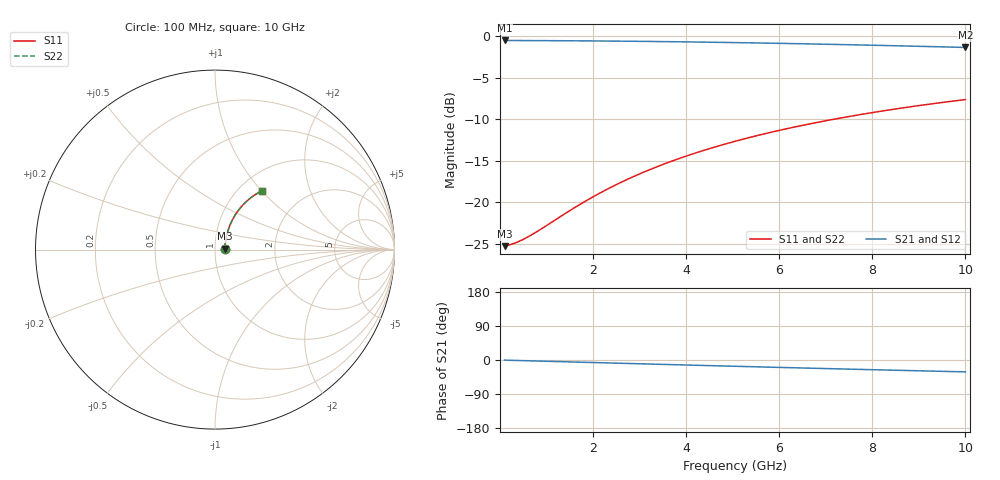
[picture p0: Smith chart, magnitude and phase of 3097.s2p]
# Hz S RI R 50.00
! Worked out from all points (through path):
!   100 points, 100 MHz to 10 GHz, reference 50 ohm
!   highest |S21| = -0.49 dB at 100 MHz (marker M1); lowest = -1.3 dB at 10 GHz (marker M2)
!   group delay of S21, straight-line fit = 8.73 ps
!   lowest |S11| = -25.3 dB at 100 MHz (marker M3), VSWR 1.12, Z = 55.7 + j0.484 ohm
!   |S11| at or under -10 dB: start of sweep to 7.152 GHz
!   |S22| runs from -25.3 to -7.6 dB; largest |S21 - S12| = 0
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1e8  0.0544 0.00433  0.9456 -0.00552  0.9456 -0.00552  0.0544 0.00433
3e8  0.0552 0.013  0.9448 -0.0165  0.9448 -0.0165  0.0552 0.013
4e8  0.0555 0.0173  0.9445 -0.022  0.9445 -0.022  0.0555 0.0173
6e8  0.0564 0.0259  0.9436 -0.033  0.9436 -0.033  0.0564 0.0259
8e8  0.0573 0.0345  0.9426 -0.044  0.9426 -0.044  0.0573 0.0345
1.5e9  0.062 0.0642  0.9378 -0.082  0.9378 -0.082  0.062 0.0642
1.8e9  0.0646 0.0768  0.9351 -0.0982  0.9351 -0.0982  0.0646 0.0768
2.2e9  0.0688 0.0934  0.9308 -0.1195  0.9308 -0.1195  0.0688 0.0934
2.6e9  0.0737 0.1097  0.9257 -0.1406  0.9257 -0.1406  0.0737 0.1097
3e9  0.0793 0.1256  0.92 -0.1613  0.92 -0.1613  0.0793 0.1256
3.4e9  0.0856 0.1413  0.9135 -0.1817  0.9135 -0.1817  0.0856 0.1413
3.8e9  0.0926 0.1565  0.9064 -0.2018  0.9064 -0.2018  0.0926 0.1565
4.2e9  0.1001 0.1714  0.8985 -0.2214  0.8985 -0.2214  0.1001 0.1714
4.6e9  0.1083 0.1857  0.8901 -0.2405  0.8901 -0.2405  0.1083 0.1857
5.1e9  0.1193 0.203  0.8788 -0.2638  0.8788 -0.2638  0.1193 0.203
5.5e9  0.1287 0.2163  0.8691 -0.2819  0.8691 -0.2819  0.1287 0.2163
5.9e9  0.1386 0.229  0.8588 -0.2994  0.8588 -0.2994  0.1386 0.229
6.7e9  0.1596 0.2528  0.837 -0.3328  0.837 -0.3328  0.1596 0.2528
7.5e9  0.1822 0.2743  0.8136 -0.3639  0.8136 -0.3639  0.1822 0.2743
8.4e9  0.209 0.2956  0.7857 -0.3961  0.7857 -0.3961  0.209 0.2956
9.2e9  0.2338 0.312  0.7599 -0.4223  0.7599 -0.4223  0.2338 0.312
1e10  0.2592 0.3261  0.7333 -0.446  0.7333 -0.446  0.2592 0.3261
